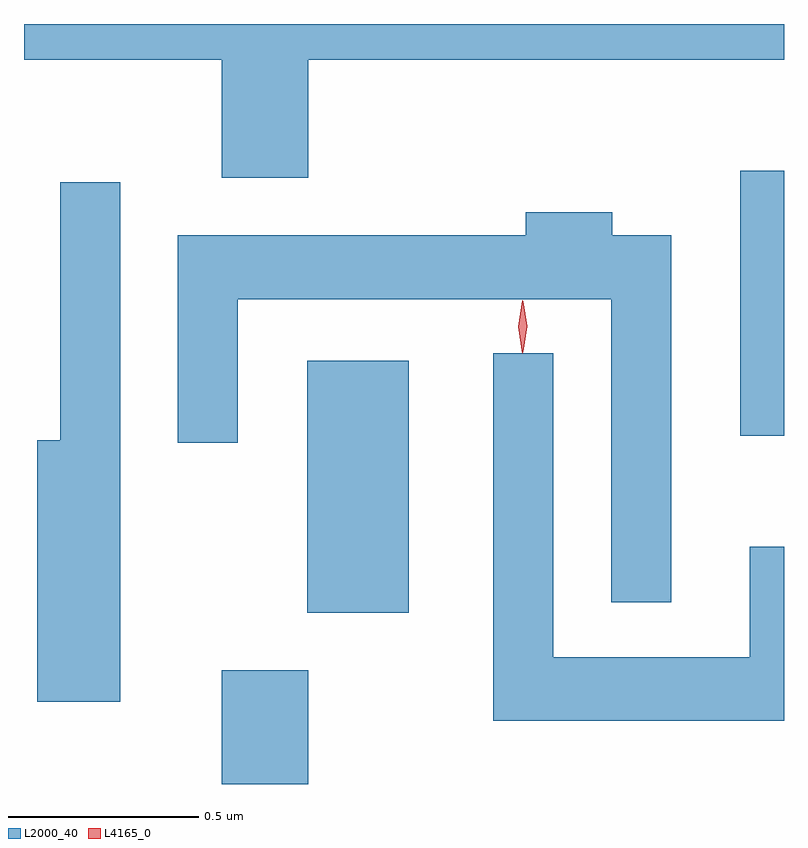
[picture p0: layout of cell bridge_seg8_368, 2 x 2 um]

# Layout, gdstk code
import gdstk
lib = gdstk.Library(unit=1e-6, precision=1e-09)
def R(c, l, rs):  # rectangles x0, y0, x1, y1
    for r in rs: c.add(gdstk.rectangle(r[:2], r[2:], *l))
def P(c, l, *ps):  # polygons
    for p in ps: c.add(gdstk.Polygon(p, *l))
L2000_40 = (2000, 40)
L4165_0 = (4165, 0)

bridge_seg8_368 = lib.new_cell('bridge_seg8_368')
R(bridge_seg8_368, L2000_40, [(739.701,1918.87,739.929,1919.169), (739.926,1919.321,740.194,1919.984), (741.066,1919.786,741.181,1920.484)])
P(bridge_seg8_368, L2000_40, [(739.929,1920.776),(741.181,1920.776),(741.181,1920.87),(739.181,1920.87),(739.181,1920.776),(739.701,1920.776),(739.701,1920.466),(739.929,1920.466)],
  [(739.434,1920.453),(739.276,1920.453),(739.276,1919.774),(739.216,1919.774),(739.216,1919.086),(739.434,1919.086)],
  [(740.884,1920.314),(740.729,1920.314),(740.729,1920.374),(740.501,1920.374),(740.501,1920.314),(739.586,1920.314),(739.586,1919.768),(739.744,1919.768),(739.744,1920.146),(740.726,1920.146),(740.726,1919.348),(740.884,1919.348)],
  [(741.181,1919.494),(741.091,1919.494),(741.091,1919.204),(740.574,1919.204),(740.574,1920.003),(740.416,1920.003),(740.416,1919.036),(741.181,1919.036)])
P(bridge_seg8_368, L4165_0, [(740.494,1920.007),(740.485,1920.074),(740.494,1920.14),(740.495,1920.14),(740.495,1920.14),(740.505,1920.074),(740.495,1920.007),(740.495,1920.007)],
  [(740.492,1920.003),(740.492,1920.004),(740.482,1920.073),(740.492,1920.142),(740.492,1920.143),(740.493,1920.142),(740.502,1920.073),(740.493,1920.004)])

lib.write_gds('bridge_seg8_368.gds')
